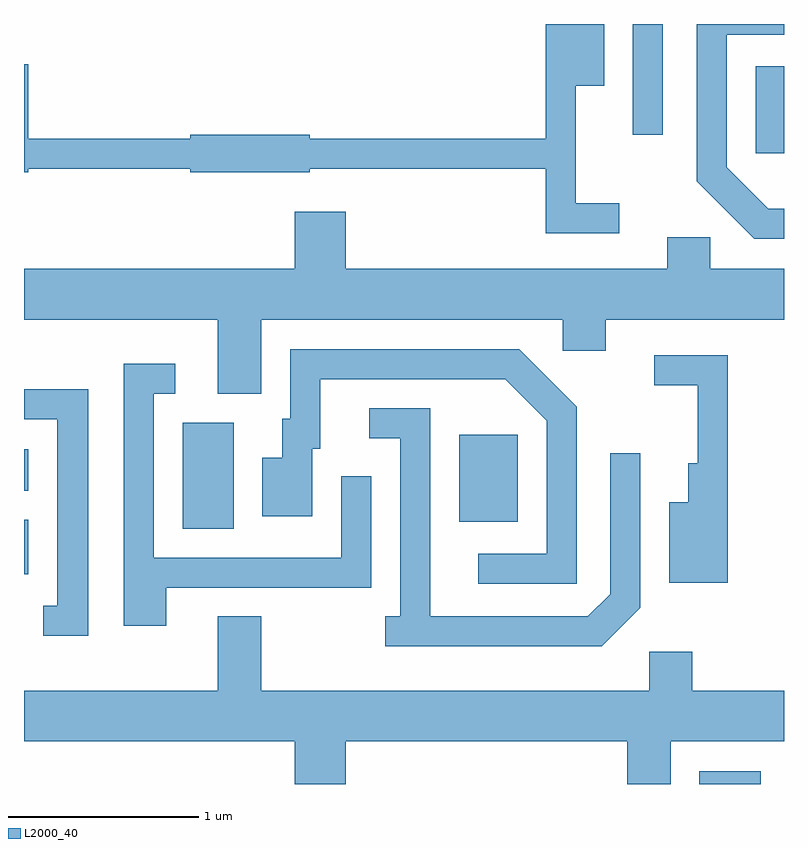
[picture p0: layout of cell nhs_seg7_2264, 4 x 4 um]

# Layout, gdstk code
import gdstk
lib = gdstk.Library(unit=1e-6, precision=1e-09)
def R(c, l, rs):  # rectangles x0, y0, x1, y1
    for r in rs: c.add(gdstk.rectangle(r[:2], r[2:], *l))
def P(c, l, *ps):  # polygons
    for p in ps: c.add(gdstk.Polygon(p, *l))
L2000_40 = (2000, 40)

nhs_seg7_2264 = lib.new_cell('nhs_seg7_2264')
R(nhs_seg7_2264, L2000_40, [(257.166,1776.252,257.488,1776.319), (253.611,1777.356,253.634,1777.644), (254.446,1777.596,254.714,1778.154), (255.901,1777.631,256.209,1778.089), (253.611,1777.796,253.634,1778.014), (257.461,1779.571,257.611,1780.029), (256.816,1779.668,256.974,1780.252)])
P(nhs_seg7_2264, L2000_40, [(257.611,1779.279),(257.527,1779.279),(257.309,1779.497),(257.309,1780.196),(257.611,1780.196),(257.611,1780.252),(257.151,1780.252),(257.151,1779.424),(257.454,1779.121),(257.611,1779.121)],
  [(256.743,1779.309),(256.514,1779.309),(256.514,1779.926),(256.664,1779.926),(256.664,1780.252),(256.356,1780.252),(256.356,1779.649),(255.114,1779.649),(255.114,1779.669),(254.486,1779.669),(254.486,1779.649),(253.634,1779.649),(253.634,1780.039),(253.611,1780.039),(253.611,1779.471),(253.634,1779.471),(253.634,1779.491),(254.486,1779.491),(254.486,1779.471),(255.114,1779.471),(255.114,1779.491),(256.356,1779.491),(256.356,1779.151),(256.743,1779.151)],
  [(254.859,1778.696),(256.446,1778.696),(256.446,1778.531),(256.674,1778.531),(256.674,1778.696),(257.611,1778.696),(257.611,1778.964),(257.224,1778.964),(257.224,1779.129),(256.996,1779.129),(256.996,1778.964),(255.304,1778.964),(255.304,1779.264),(255.036,1779.264),(255.036,1778.964),(253.611,1778.964),(253.611,1778.696),(254.631,1778.696),(254.631,1778.306),(254.859,1778.306)],
  [(256.519,1778.237),(256.217,1778.539),(255.011,1778.539),(255.011,1778.174),(254.971,1778.174),(254.971,1777.969),(254.866,1777.969),(254.866,1777.661),(255.129,1777.661),(255.129,1778.016),(255.169,1778.016),(255.169,1778.381),(256.144,1778.381),(256.361,1778.164),(256.361,1777.464),(256.003,1777.464),(256.003,1777.306),(256.519,1777.306)],
  [(257.314,1778.509),(256.928,1778.509),(256.928,1778.351),(257.156,1778.351),(257.156,1777.939),(257.106,1777.939),(257.106,1777.734),(257.006,1777.734),(257.006,1777.311),(257.314,1777.311)],
  [(254.359,1777.286),(255.439,1777.286),(255.439,1777.873),(255.281,1777.873),(255.281,1777.444),(254.294,1777.444),(254.294,1778.306),(254.408,1778.306),(254.408,1778.464),(254.136,1778.464),(254.136,1777.086),(254.359,1777.086)],
  [(253.949,1778.329),(253.611,1778.329),(253.611,1778.171),(253.786,1778.171),(253.786,1777.189),(253.713,1777.189),(253.713,1777.031),(253.949,1777.031)],
  [(256.854,1777.179),(256.854,1777.993),(256.696,1777.993),(256.696,1777.252),(256.579,1777.134),(255.749,1777.134),(255.749,1778.229),(255.428,1778.229),(255.428,1778.071),(255.591,1778.071),(255.591,1777.134),(255.513,1777.134),(255.513,1776.976),(256.652,1776.976)],
  [(255.304,1776.476),(256.786,1776.476),(256.786,1776.252),(257.014,1776.252),(257.014,1776.476),(257.611,1776.476),(257.611,1776.744),(257.129,1776.744),(257.129,1776.949),(256.901,1776.949),(256.901,1776.744),(254.859,1776.744),(254.859,1777.134),(254.631,1777.134),(254.631,1776.744),(253.611,1776.744),(253.611,1776.476),(255.036,1776.476),(255.036,1776.252),(255.304,1776.252)])

lib.write_gds('nhs_seg7_2264.gds')
